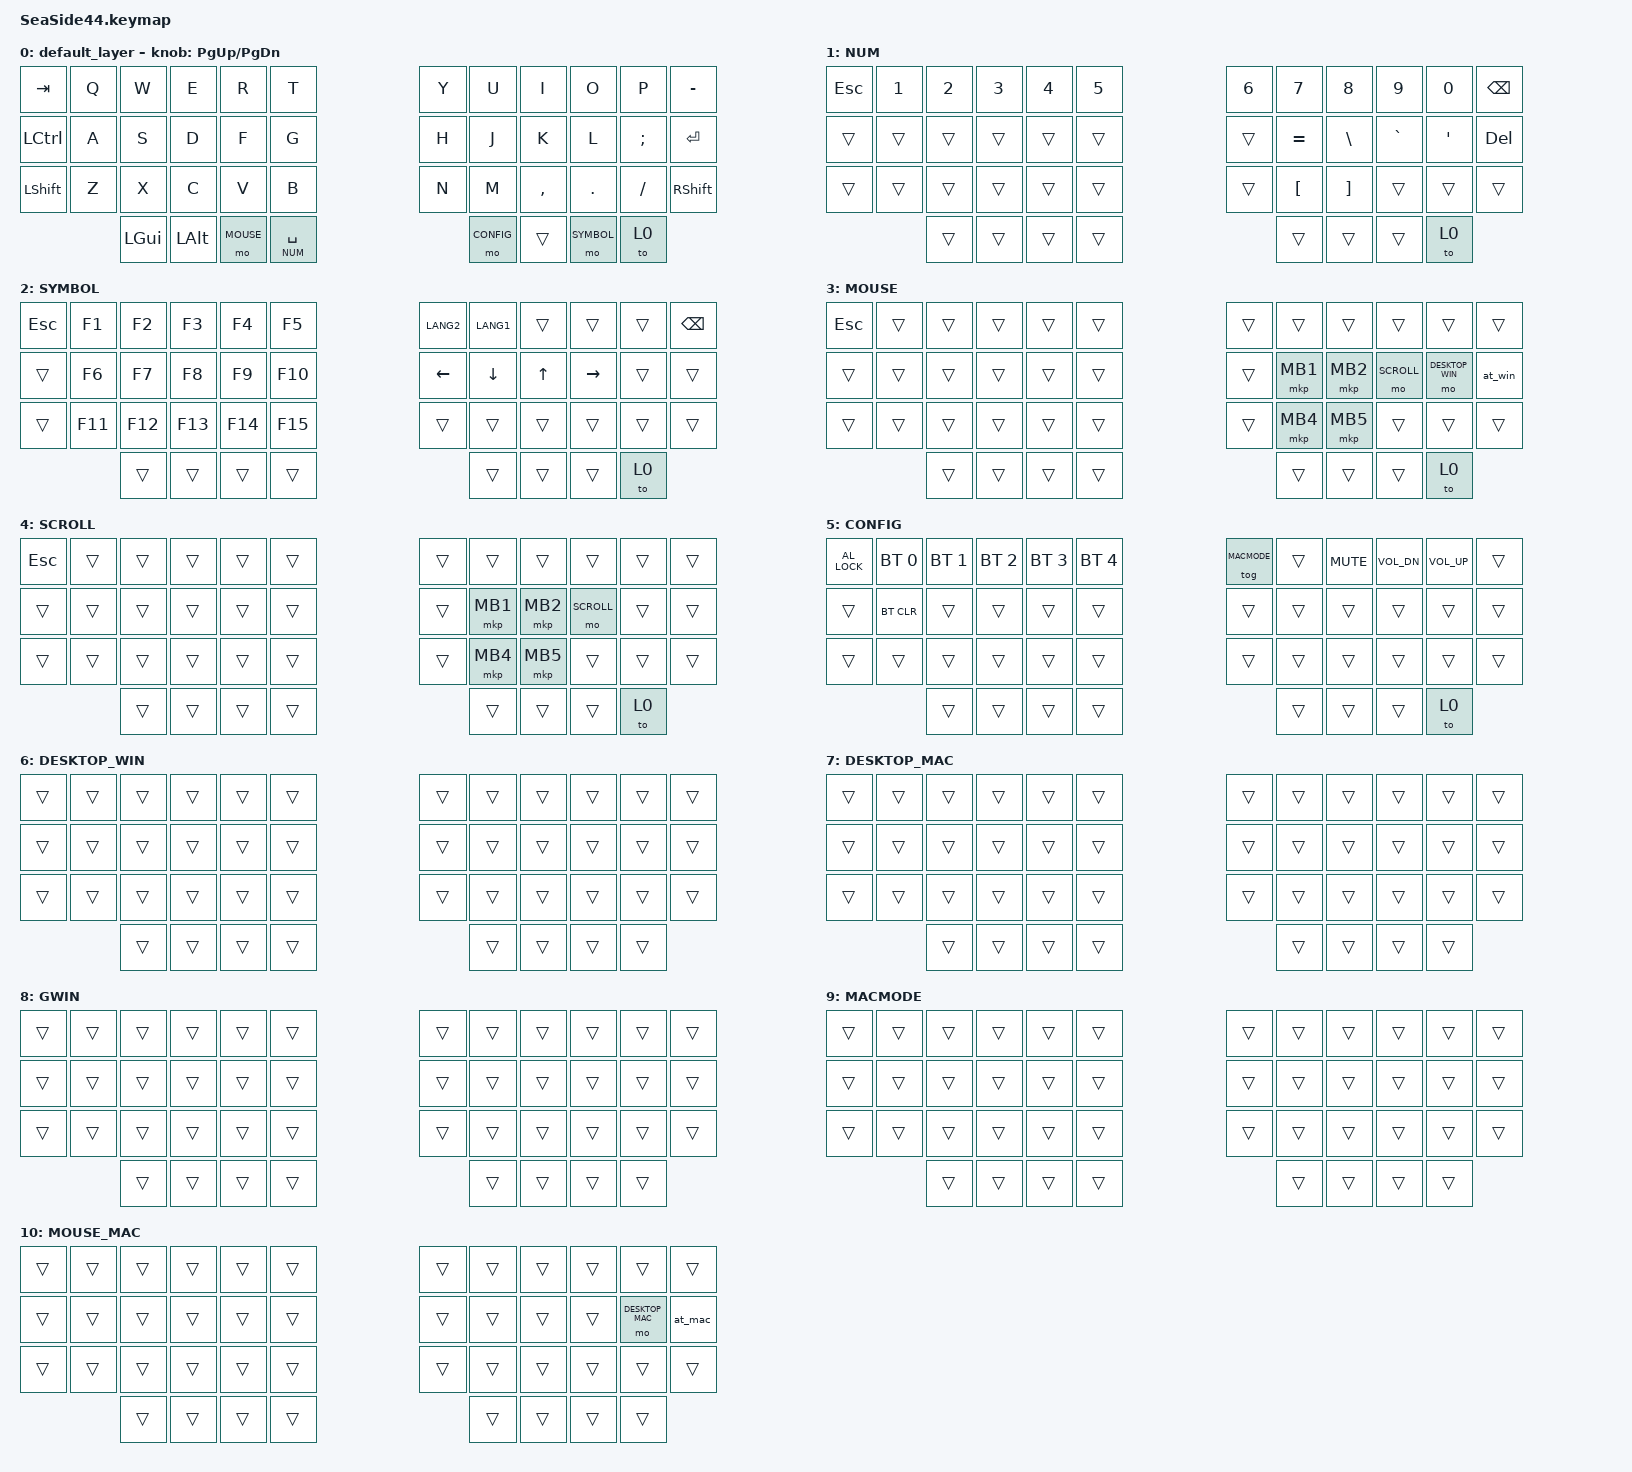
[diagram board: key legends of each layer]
#include <behaviors.dtsi>
#include <dt-bindings/zmk/bt.h>
#include <dt-bindings/zmk/keys.h>
#include <dt-bindings/zmk/pointing.h>
#include <dt-bindings/zmk/ext_power.h>
#include <input/processors.dtsi>

#define NUM 1
#define SYMBOL 2
#define MOUSE 3
#define SCROLL 4
#define CONFIG 5
#define DESKTOP_WIN 6
#define DESKTOP_MAC 7
#define GWIN 8
#define MACMODE 9
#define MOUSE_MAC 10

&mt {
    flavor = "balanced";
    quick-tap-ms = <300>;
};

&lt {
    flavor = "balanced";
    quick-tap-ms = <300>;
};

&mkp_input_listener {
    input-processors = <&zip_temp_layer MOUSE 750>;
};

/ {
    combos {
		compatible = "zmk,combos";
	};

    //macros {
    //    to_layer_0: to_layer_0 {
    //        compatible = "zmk,behavior-macro-one-param";
    //        #binding-cells = <1>;
    //        bindings = <&to 0 &macro_param_1to1 &kp MACRO_PLACEHOLDER>;
    //        label = "TO_LAYER_0";
    //    };
    //};

	behaviors {
		// QMK の quick tap と同等機能にする。
		lt_spc: layer_tap_space {
            compatible = "zmk,behavior-hold-tap";
            label = "LAYER_TAP_SPACE";
            #binding-cells = <2>;
            flavor = "tap-preferred";
            tapping-term-ms = <200>;
            quick-tap-ms = <175>;  // quick tap 機能
            bindings = <&mo>, <&kp>;
        };
    };

    macros {
        // ウィンドウ切替トリガ。押下中、修飾キーを保持しつつ GWIN レイヤーを
        // 有効化する。トラックボール移動で Tab を連打しても修飾キーが押された
        // ままになり、連続的なウィンドウ/アプリ切替サイクルが成立する。
        // ウィンドウ切替の挙動は OS で同じ (Tab 連打) で、保持する修飾キーだけ
        // が違う (Alt / Cmd)。そのため GWIN レイヤーは 1 枚を共用し、修飾キーの
        // 違いだけをこの 2 つのマクロで吸収する。
        // Windows: Alt 保持 (Alt+Tab)。
        at_win: alt_tab_window {
            compatible = "zmk,behavior-macro";
            #binding-cells = <0>;
            label = "ALT_TAB_WINDOW";
            bindings = <&macro_press &kp LALT &mo GWIN>
                     , <&macro_pause_for_release>
                     , <&macro_release &kp LALT &mo GWIN>;
        };
        // macOS: Cmd (LGUI) 保持 (Cmd+Tab アプリ切替)。
        at_mac: cmd_tab_window {
            compatible = "zmk,behavior-macro";
            #binding-cells = <0>;
            label = "CMD_TAB_WINDOW";
            bindings = <&macro_press &kp LGUI &mo GWIN>
                     , <&macro_pause_for_release>
                     , <&macro_release &kp LGUI &mo GWIN>;
        };
    };

    // トラックボール移動をキー押下へ変換する input processor。
    // mode=1 は X/Y を独立に閾値判定する (bindings: 右, 左, 下, 上)。
    // 上下は &none にして左右成分だけを抽出する。X と Y が独立判定なので、
    // 斜め (左下->右上 等) でも左右成分が tick を超えれば左右が発火する。
    // tick は移動量の感度。大きいほど鈍い。

    // Windows デスクトップ切替: Ctrl+Win+Left/Right。
    zip_desktop_win: zip_desktop_win {
        compatible = "zmk,input-processor-keybind";
        #input-processor-cells = <0>;
        bindings = <&kp LC(LG(RIGHT))>
                 , <&kp LC(LG(LEFT))>
                 , <&none>
                 , <&none>;
        mode = <1>;
        tick = <80>;
    };

    // macOS スペース切替: Ctrl+Left/Right (Mission Control)。
    zip_desktop_mac: zip_desktop_mac {
        compatible = "zmk,input-processor-keybind";
        #input-processor-cells = <0>;
        bindings = <&kp LC(RIGHT)>
                 , <&kp LC(LEFT)>
                 , <&none>
                 , <&none>;
        mode = <1>;
        tick = <80>;
    };

    // ウィンドウ/アプリ切替: Tab / Shift+Tab。修飾キー (Alt / Cmd) は
    // トリガ側マクロ (at_win / at_mac) が保持するため、Windows と macOS で
    // この processor を共用する。
    zip_window: zip_window {
        compatible = "zmk,input-processor-keybind";
        #input-processor-cells = <0>;
        bindings = <&kp TAB>
                 , <&kp LS(TAB)>
                 , <&none>
                 , <&none>;
        mode = <1>;
        tick = <80>;
    };

    keymap {
        compatible = "zmk,keymap";

        default_layer {
            bindings = <
&kp TAB                &kp Q         &kp W         &kp E         &kp R         &kp T                                            &kp Y        &kp U        &kp I          &kp O          &kp P             &kp MINUS
&kp LCTRL              &kp A         &kp S         &kp D         &kp F         &kp G                                            &kp H        &kp J        &kp K          &kp L          &kp SEMI          &kp ENTER
&kp LSHFT              &kp Z         &kp X         &kp C         &kp V         &kp B                                            &kp N        &kp M        &kp COMMA      &kp DOT        &kp FSLH          &kp RSHFT
                                     &kp LGUI      &kp LALT      &mo MOUSE     &lt_spc NUM SPACE  &mo CONFIG       &trans       &mo SYMBOL                                              &to 0
            >;

            sensor-bindings = <&inc_dec_kp PG_UP PAGE_DOWN>;
        };

        NUM {
            bindings = <
&kp ESC                &kp N1        &kp N2        &kp N3        &kp N4        &kp N5                                           &kp N6      &kp N7       &kp N8          &kp N9         &kp N0            &kp BSPC
&trans                 &trans        &trans        &trans        &trans        &trans                                           &trans      &kp EQUAL    &kp BSLH        &kp GRAVE      &kp SQT           &kp DEL
&trans                 &trans        &trans        &trans        &trans        &trans                                           &trans      &kp LBKT     &kp RBKT        &trans         &trans            &trans
                                     &trans        &trans        &trans        &trans             &trans           &trans       &trans                                                  &to 0
            >;
        };

        SYMBOL {
            bindings = <
&kp ESC                &kp F1        &kp F2        &kp F3        &kp F4        &kp F5                                           &kp LANG2   &kp LANG1    &trans          &trans         &trans            &kp BSPC
&trans                 &kp F6        &kp F7        &kp F8        &kp F9        &kp F10                                          &kp LEFT    &kp DOWN     &kp UP          &kp RIGHT      &trans            &trans
&trans                 &kp F11       &kp F12       &kp F13       &kp F14       &kp F15                                          &trans      &trans       &trans          &trans         &trans            &trans
                                     &trans        &trans        &trans        &trans             &trans           &trans       &trans                                                  &to 0
            >;
        };

        MOUSE {
            // トラックボールジェスチャのトリガ。スクロールキー (SCROLL) の右に
            // ポインタ系操作としてまとめている。押しながらトラックボールを
            // 左右に転がして切り替える (SCROLL と同じ「握って転がす」操作)。
            //   SCROLL | DESKTOP(22) | WINDOW(23)
            //   列1 = デスクトップ/スペース切替, 列2 = ウィンドウ/アプリ切替
            // 既定は Windows。CONFIG の &tog MACMODE で Mac モードにすると、
            // conditional layer で MOUSE_MAC が重なり pos22/23 が Mac 用に
            // 差し替わる (同じ物理キーを両 OS で共用)。
            bindings = <
&kp ESC                &trans	     &trans        &trans        &trans        &trans                                           &trans      &trans       &trans          &trans          &trans            &trans
&trans                 &trans        &trans        &trans        &trans        &trans                                           &trans      &mkp MB1     &mkp MB2        &mo SCROLL      &mo DESKTOP_WIN   &at_win
&trans                 &trans        &trans        &trans        &trans        &trans                                           &trans      &mkp MB4     &mkp MB5        &trans          &trans            &trans
                                     &trans        &trans        &trans        &trans             &trans           &trans       &trans                                                  &to 0
            >;
        };

        SCROLL {
            bindings = <
&kp ESC                &trans	     &trans        &trans        &trans        &trans                                           &trans      &trans       &trans          &trans         &trans            &trans
&trans                 &trans        &trans        &trans        &trans        &trans                                           &trans      &mkp MB1     &mkp MB2        &mo SCROLL     &trans            &trans
&trans                 &trans        &trans        &trans        &trans        &trans                                           &trans      &mkp MB4     &mkp MB5        &trans         &trans            &trans
                                     &trans        &trans        &trans        &trans             &trans           &trans       &trans                                                  &to 0
            >;
        };

        CONFIG {
            // pos6 = &tog MACMODE で Windows / macOS モードを切り替える。
            // トグル状態は電源 OFF / 再起動で既定 (Windows) に戻る (ZMK 仕様)。
            bindings = <
&kp C_AL_LOCK          &bt BT_SEL 0  &bt BT_SEL 1  &bt BT_SEL 2  &bt BT_SEL 3  &bt BT_SEL 4                                     &tog MACMODE &trans      &kp C_MUTE      &kp C_VOL_DN   &kp C_VOL_UP      &trans
&trans                 &bt BT_CLR    &trans	       &trans        &trans        &trans                                           &trans      &trans       &trans          &trans         &trans            &trans
&trans                 &trans        &trans        &trans        &trans        &trans                                           &trans      &trans       &trans          &trans         &trans            &trans
                                     &trans        &trans        &trans        &trans             &trans           &trans       &trans                                                  &to 0
            >;
        };

        // トラックボールジェスチャ用の momentary レイヤー。
        // キー自体は全 &trans (下層へ透過)。トラックボール移動の変換は
        // overlay 側の trackball_listener override が担う。
        // ウィンドウ切替は Windows/macOS とも GWIN を共用する。
        DESKTOP_WIN {
            bindings = <
&trans                 &trans        &trans        &trans        &trans        &trans                                           &trans      &trans       &trans          &trans         &trans            &trans
&trans                 &trans        &trans        &trans        &trans        &trans                                           &trans      &trans       &trans          &trans         &trans            &trans
&trans                 &trans        &trans        &trans        &trans        &trans                                           &trans      &trans       &trans          &trans         &trans            &trans
                                     &trans        &trans        &trans        &trans             &trans           &trans       &trans                                                  &trans
            >;
        };

        DESKTOP_MAC {
            bindings = <
&trans                 &trans        &trans        &trans        &trans        &trans                                           &trans      &trans       &trans          &trans         &trans            &trans
&trans                 &trans        &trans        &trans        &trans        &trans                                           &trans      &trans       &trans          &trans         &trans            &trans
&trans                 &trans        &trans        &trans        &trans        &trans                                           &trans      &trans       &trans          &trans         &trans            &trans
                                     &trans        &trans        &trans        &trans             &trans           &trans       &trans                                                  &trans
            >;
        };

        GWIN {
            bindings = <
&trans                 &trans        &trans        &trans        &trans        &trans                                           &trans      &trans       &trans          &trans         &trans            &trans
&trans                 &trans        &trans        &trans        &trans        &trans                                           &trans      &trans       &trans          &trans         &trans            &trans
&trans                 &trans        &trans        &trans        &trans        &trans                                           &trans      &trans       &trans          &trans         &trans            &trans
                                     &trans        &trans        &trans        &trans             &trans           &trans       &trans                                                  &trans
            >;
        };

        // OS モードフラグ。CONFIG の &tog MACMODE で ON/OFF する。
        // それ自体は全 &trans で何も上書きしない。MOUSE と同時に有効な
        // ときだけ conditional layer が MOUSE_MAC を重ねる。
        MACMODE {
            bindings = <
&trans                 &trans        &trans        &trans        &trans        &trans                                           &trans      &trans       &trans          &trans         &trans            &trans
&trans                 &trans        &trans        &trans        &trans        &trans                                           &trans      &trans       &trans          &trans         &trans            &trans
&trans                 &trans        &trans        &trans        &trans        &trans                                           &trans      &trans       &trans          &trans         &trans            &trans
                                     &trans        &trans        &trans        &trans             &trans           &trans       &trans                                                  &trans
            >;
        };

        // MOUSE の Mac 版差分。Mac モード時に MOUSE へ重なり、pos22/23 の
        // ジェスチャトリガだけを Mac 用へ差し替える。残りは &trans で
        // MOUSE 側 (MB1/MB2/SCROLL 等) へ透過する。
        MOUSE_MAC {
            bindings = <
&trans                 &trans        &trans        &trans        &trans        &trans                                           &trans      &trans       &trans          &trans          &trans            &trans
&trans                 &trans        &trans        &trans        &trans        &trans                                           &trans      &trans       &trans          &trans          &mo DESKTOP_MAC   &at_mac
&trans                 &trans        &trans        &trans        &trans        &trans                                           &trans      &trans       &trans          &trans          &trans            &trans
                                     &trans        &trans        &trans        &trans             &trans           &trans       &trans                                                  &trans
            >;
        };
    };

    // MOUSE に居て、かつ Mac モード (MACMODE) のときだけ MOUSE_MAC を重ねる。
    // AND 条件かつ MOUSE を含むため、他レイヤー (default 等) は影響を受けない。
    conditional_layers {
        compatible = "zmk,conditional-layers";
        mouse_mac {
            if-layers = <MOUSE MACMODE>;
            then-layer = <MOUSE_MAC>;
        };
    };
};
